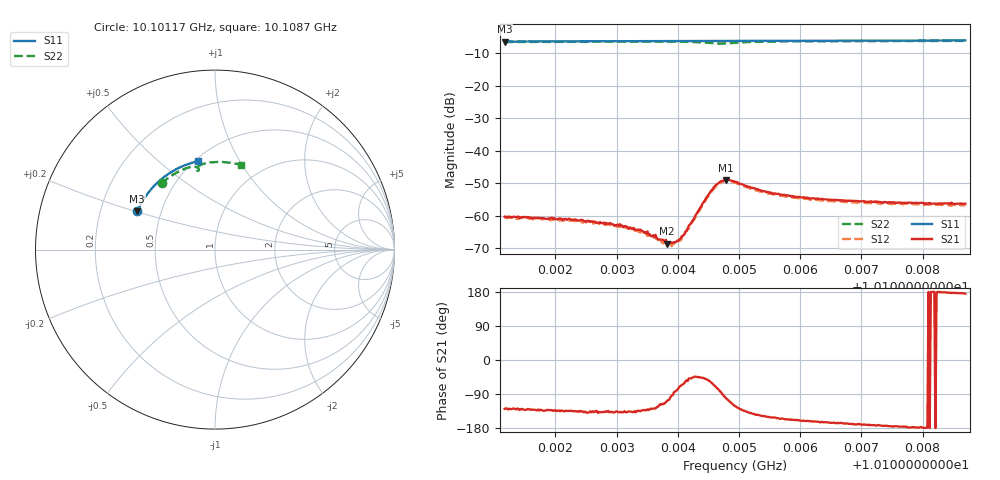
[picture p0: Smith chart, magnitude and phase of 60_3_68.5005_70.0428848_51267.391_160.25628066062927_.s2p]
#  HZ  S  RI  R  50.00
! Rohde & Schwarz Vector Network Analyzer
! Rohde-Schwarz,ZNB20-2Port,1311601062101988,3.16
! Created: UTC 3/20/2024, 5:06:22 PM
! freq[Hz]  re:S11  im:S11  re:S21  im:S21  re:S12  im:S12  re:S22  im:S22
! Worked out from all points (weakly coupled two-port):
!   401 points, 10.10117 GHz to 10.1087 GHz, reference 50 ohm
!   highest |S21| = -49.01 dB at 10.10478 GHz (marker M1); lowest = -68.7 dB at 10.10382 GHz (marker M2)
!   lowest |S11| = -6.3 dB at 10.10117 GHz (marker M3), VSWR 2.86, Z = 18.3 + j10.1 ohm
!   |S11| at or under -10 dB: nowhere
!   |S22| runs from -7.0 to -6.1 dB; largest |S21 - S12| = 0.00039
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1.0101168e10  -0.4329 0.2125  -0.000603 -0.000745  -0.000538 -0.000775  -0.298 0.3695
1.0101714e10  -0.4187 0.2427  -0.000603 -0.0007  -0.00056 -0.000716  -0.2706 0.392
1.010243e10  -0.3972 0.2806  -0.000608 -0.000612  -0.000526 -0.000589  -0.2322 0.4182
1.0103051e10  -0.3758 0.3116  -0.000545 -0.000491  -0.000466 -0.000479  -0.1961 0.438
1.010339e10  -0.363 0.3279  -0.000428 -0.000427  -0.000352 -0.000421  -0.175 0.4474
1.0103559e10  -0.3564 0.3357  -0.000298 -0.000379  -0.000264 -0.000388  -0.1641 0.4516
1.0103691e10  -0.3512 0.3417  -0.000213 -0.000369  -0.000189 -0.000365  -0.1552 0.4548
1.0103767e10  -0.348 0.3451  -0.000184 -0.000368  -0.000162 -0.000336  -0.1499 0.4563
1.0103823e10  -0.3458 0.3475  -0.000114 -0.000348  -7.5e-05 -0.000365  -0.146 0.4574
1.0103936e10  -0.3412 0.3526  3.42e-05 -0.000387  2.34e-05 -0.000367  -0.1377 0.4594
1.0104011e10  -0.338 0.356  0.000117 -0.000397  0.000145 -0.000378  -0.1321 0.4606
1.0104124e10  -0.3332 0.3609  0.000312 -0.000473  0.000348 -0.000439  -0.1231 0.4616
1.0104444e10  -0.3193 0.3744  0.00112 -0.00133  0.00117 -0.00117  -0.0961 0.456
1.0104576e10  -0.3133 0.3796  0.00115 -0.00235  0.00133 -0.00215  -0.0899 0.4464
1.010467e10  -0.309 0.3834  0.000608 -0.00315  0.00082 -0.00296  -0.092 0.44
1.0104783e10  -0.3039 0.3879  -0.00062 -0.00349  -0.000279 -0.00339  -0.0993 0.4404
1.0104934e10  -0.2971 0.3937  -0.00172 -0.00284  -0.00139 -0.00288  -0.1012 0.4519
1.0105198e10  -0.2845 0.4038  -0.00207 -0.00173  -0.00185 -0.00183  -0.0864 0.4684
1.010548e10  -0.2709 0.414  -0.00198 -0.00112  -0.00177 -0.00123  -0.0663 0.4774
1.0106195e10  -0.2346 0.4375  -0.00175 -0.000553  -0.00163 -0.000714  -0.0172 0.4866
1.0107457e10  -0.1659 0.4708  -0.0016 -0.000146  -0.00152 -0.00031  0.0655 0.4864
1.01087e10  -0.094 0.4926  -0.00151 0.000137  -0.00145 -1.21e-05  0.1438 0.4721
